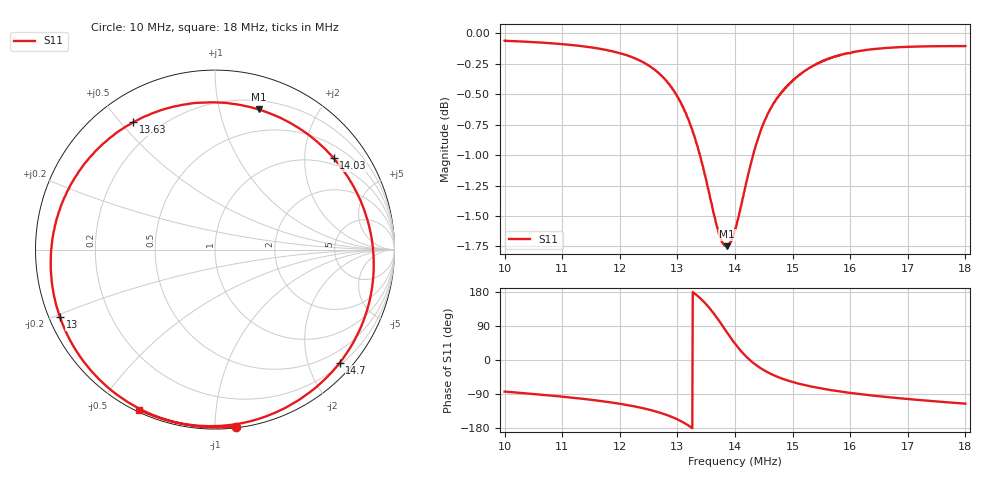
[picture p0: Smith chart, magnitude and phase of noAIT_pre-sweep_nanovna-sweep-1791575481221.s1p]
! NanoVNA Web complex sweep
! Processing: unaveraged complex samples; linear segment spacing; no smoothing
# Hz S RI R 50
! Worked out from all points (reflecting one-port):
!   1010 points, 10 MHz to 18 MHz, reference 50 ohm
!   lowest |S11| = -1.7 dB at 13.86 MHz (marker M1), VSWR 9.97, Z = 14 + j66.1 ohm
!   phase of S11 starts at -83 deg and turns -392 deg over the sweep
!   S11 on the Smith chart (normalised r, x): 10 MHz: 0.01, -1.12; 13 MHz: 0.03, -0.21; 13.63 MHz: 0.11, +0.54; 14.03 MHz: 0.81, +2.72; 14.7 MHz: 0.25, -2.57; 18 MHz: 0.01, -0.63
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1e7  0.1144 -0.9864
1.100698e7  -0.1168 -0.9829
1.156201e7  -0.2739 -0.9474
1.200604e7  -0.4253 -0.8844
1.23232e7  -0.553 -0.8031
1.258485e7  -0.6722 -0.6949
1.280687e7  -0.7792 -0.5539
1.299716e7  -0.864 -0.3761
1.300509e7  -0.8668 -0.3671
1.321124e7  -0.9149 -0.0832
1.336982e7  -0.8707 0.2078
1.350462e7  -0.7229 0.4836
1.363148e7  -0.4566 0.7092
1.375042e7  -0.1083 0.8173
1.380592e7  0.0695 0.8165
1.386142e7  0.2434 0.7806
1.392486e7  0.4252 0.7025
1.400414e7  0.6156 0.5589
1.402793e7  0.6608 0.5093
1.41548e7  0.8299 0.2254
1.428959e7  0.8843 -0.0641
1.448781e7  0.8272 -0.3972
1.47019e7  0.695 -0.63
1.50032e7  0.5037 -0.8131
1.541551e7  0.2869 -0.9282
1.600225e7  0.0547 -0.9796
1.700131e7  -0.2221 -0.962
1.800036e7  -0.4208 -0.8939
